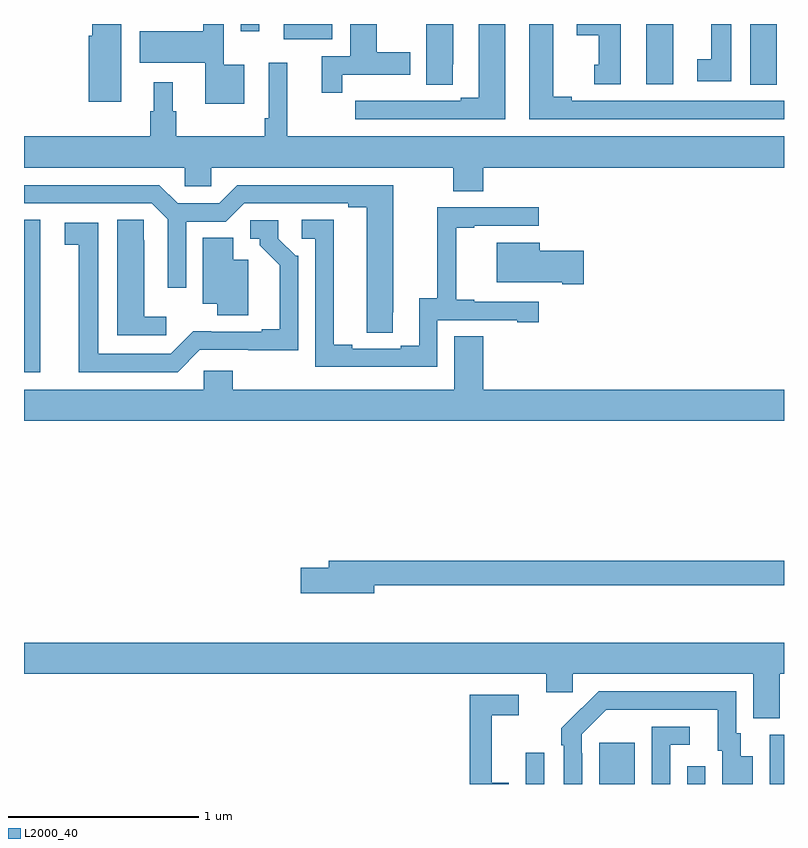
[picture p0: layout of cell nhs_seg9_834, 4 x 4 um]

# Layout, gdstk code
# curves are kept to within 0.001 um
import gdstk
lib = gdstk.Library(unit=1e-6, precision=1e-09)
def R(c, l, rs):  # rectangles x0, y0, x1, y1
    for r in rs: c.add(gdstk.rectangle(r[:2], r[2:], *l))
def P(c, l, *ps):  # polygons
    for p in ps: c.add(gdstk.Polygon(p, *l))
L2000_40 = (2000, 40)

nhs_seg9_834 = lib.new_cell('nhs_seg9_834')
R(nhs_seg9_834, L2000_40, [(157.641,1202.5,157.737,1202.665), (158.027,1202.5,158.215,1202.716), (158.49,1202.5,158.586,1202.593), (158.924,1202.5,159,1202.76), (155,1204.668,155.086,1205.47), (158.276,1206.183,158.416,1206.5), (156.368,1206.419,156.622,1206.5), (156.141,1206.462,156.238,1206.5)])
P(nhs_seg9_834, L2000_40, [(159,1206.096),(157.882,1206.096),(157.882,1206.116),(157.786,1206.116),(157.786,1206.5),(157.658,1206.5),(157.658,1206),(159,1206)],
  [(157.257,1206.289),(157.258,1206.289),(157.258,1206.5),(157.118,1206.5),(157.118,1206.181),(157.257,1206.181)],
  [(156.16,1206.286),(156.051,1206.286),(156.051,1206.5),(155.943,1206.5),(155.943,1206.462),(155.61,1206.462),(155.61,1206.296),(155.954,1206.296),(155.954,1206.08),(156.16,1206.08)],
  [(156.674,1206.234),(157.033,1206.234),(157.033,1206.351),(156.856,1206.351),(156.856,1206.5),(156.716,1206.5),(156.716,1206.33),(156.566,1206.33),(156.566,1206.138),(156.674,1206.138)],
  [(157.534,1206.5),(157.394,1206.5),(157.394,1206.111),(157.298,1206.111),(157.298,1206.096),(157.022,1206.096),(157.022,1206.097),(156.856,1206.097),(156.856,1206.096),(156.744,1206.096),(156.744,1206),(157.534,1206)],
  [(158.14,1206.5),(157.91,1206.5),(157.91,1206.44),(158.024,1206.44),(158.024,1206.285),(158,1206.285),(158,1206.183),(158.14,1206.183)],
  [(158.961,1206.289),(158.962,1206.289),(158.962,1206.5),(158.822,1206.5),(158.822,1206.181),(158.961,1206.181)],
  [(155.512,1206.5),(155.36,1206.5),(155.36,1206.438),(155.342,1206.438),(155.342,1206.09),(155.512,1206.09)],
  [(158.722,1206.5),(158.618,1206.5),(158.618,1206.314),(158.544,1206.314),(158.544,1206.198),(158.722,1206.198)],
  [(157.418,1205.744),(159,1205.744),(159,1205.908),(156.386,1205.908),(156.386,1206.295),(156.288,1206.295),(156.288,1206.004),(156.268,1206.004),(156.268,1205.908),(155.801,1205.908),(155.801,1206.042),(155.782,1206.042),(155.782,1206.193),(155.684,1206.193),(155.684,1206.042),(155.665,1206.042),(155.665,1205.908),(155,1205.908),(155,1205.744),(155.847,1205.744),(155.847,1205.646),(155.985,1205.646),(155.985,1205.744),(157.258,1205.744),(157.258,1205.62),(157.418,1205.62)],
  [(156.942,1204.984),(156.943,1205.652),(156.123,1205.652),(156.027,1205.556),(155.809,1205.556),(155.713,1205.652),(155,1205.652),(155,1205.556),(155.673,1205.556),(155.757,1205.472),(155.757,1205.112),(155.853,1205.112),(155.853,1205.46),(156.063,1205.46),(156.159,1205.556),(156.707,1205.556),(156.707,1205.536),(156.803,1205.536),(156.803,1204.876),(156.942,1204.876)],
  [(157.176,1204.941),(157.595,1204.941),(157.595,1204.929),(157.708,1204.929),(157.708,1205.037),(157.369,1205.037),(157.369,1205.05),(157.274,1205.05),(157.274,1205.427),(157.369,1205.427),(157.369,1205.439),(157.708,1205.439),(157.708,1205.535),(157.174,1205.535),(157.174,1205.057),(157.079,1205.057),(157.079,1204.806),(156.983,1204.806),(156.983,1204.791),(156.727,1204.791),(156.727,1204.811),(156.631,1204.811),(156.631,1205.471),(156.462,1205.471),(156.462,1205.37),(156.534,1205.37),(156.534,1204.695),(157.176,1204.695)],
  [(155.749,1204.96),(155.632,1204.96),(155.632,1205.363),(155.631,1205.363),(155.631,1205.471),(155.492,1205.471),(155.492,1204.863),(155.749,1204.863)],
  [(155.925,1204.785),(156.444,1204.784),(156.444,1205.28),(156.429,1205.28),(156.339,1205.37),(156.339,1205.466),(156.192,1205.466),(156.192,1205.37),(156.242,1205.37),(156.242,1205.335),(156.347,1205.23),(156.347,1204.894),(156.251,1204.894),(156.251,1204.881),(155.89,1204.882),(155.772,1204.764),(155.392,1204.764),(155.392,1205.454),(155.214,1205.454),(155.214,1205.338),(155.288,1205.338),(155.288,1204.668),(155.808,1204.668)],
  [(156.181,1205.26),(156.1,1205.26),(156.1,1205.375),(155.942,1205.375),(155.942,1205.027),(156.017,1205.027),(156.017,1204.966),(156.181,1204.966)],
  [(157.945,1205.307),(157.714,1205.307),(157.714,1205.35),(157.487,1205.35),(157.487,1205.141),(157.832,1205.141),(157.832,1205.129),(157.945,1205.129)],
  [(159,1204.576),(157.418,1204.576),(157.418,1204.856),(157.265,1204.856),(157.265,1204.576),(156.098,1204.576),(156.098,1204.674),(155.946,1204.674),(155.946,1204.576),(155,1204.576),(155,1204.412),(159,1204.412)],
  [(156.844,1203.546),(159,1203.546),(159,1203.674),(156.605,1203.674),(156.605,1203.638),(156.456,1203.638),(156.456,1203.503),(156.844,1203.503)],
  [(158.977,1203.08),(159,1203.08),(159,1203.244),(155,1203.244),(155,1203.08),(157.748,1203.08),(157.748,1202.982),(157.887,1202.982),(157.887,1203.08),(158.837,1203.08),(158.837,1202.845),(158.977,1202.845)],
  [(157.938,1202.663),(157.935,1202.663),(157.935,1202.763),(158.064,1202.892),(158.651,1202.892),(158.651,1202.676),(158.675,1202.676),(158.675,1202.5),(158.836,1202.5),(158.836,1202.647),(158.773,1202.647),(158.773,1202.766),(158.748,1202.766),(158.748,1202.988),(158.024,1202.988),(157.827,1202.793),(157.827,1202.705),(157.842,1202.705),(157.842,1202.5),(157.938,1202.5)],
  [(157.552,1202.506),(157.463,1202.506),(157.463,1202.862),(157.603,1202.862),(157.603,1202.97),(157.345,1202.97),(157.345,1202.5),(157.552,1202.5)],
  [(158.4,1202.706),(158.503,1202.706),(158.503,1202.802),(158.304,1202.802),(158.304,1202.5),(158.4,1202.5)])

lib.write_gds('nhs_seg9_834.gds')
